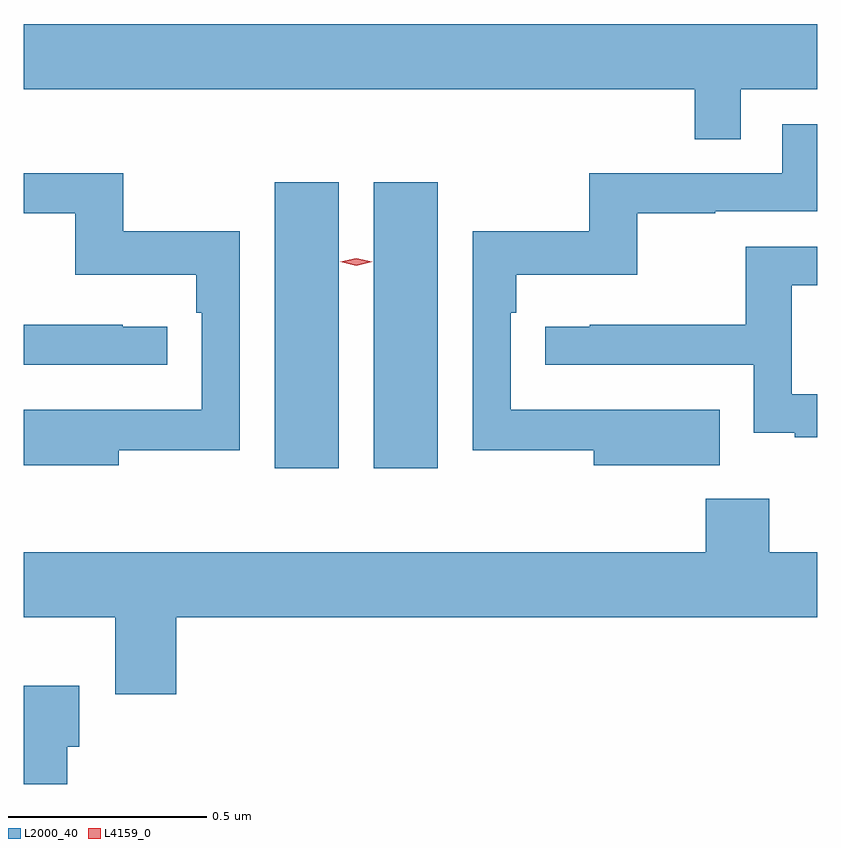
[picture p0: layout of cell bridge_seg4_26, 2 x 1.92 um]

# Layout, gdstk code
import gdstk
lib = gdstk.Library(unit=1e-6, precision=1e-09)
def R(c, l, rs):  # rectangles x0, y0, x1, y1
    for r in rs: c.add(gdstk.rectangle(r[:2], r[2:], *l))
def P(c, l, *ps):  # polygons
    for p in ps: c.add(gdstk.Polygon(p, *l))
L2000_40 = (2000, 40)
L4159_0 = (4159, 0)

bridge_seg4_26 = lib.new_cell('bridge_seg4_26')
R(bridge_seg4_26, L2000_40, [(999.161,827.832,999.322,828.553), (999.41,827.832,999.571,828.553)])
P(bridge_seg4_26, L2000_40, [(1000.335,828.788),(1000.528,828.788),(1000.528,828.952),(998.528,828.952),(998.528,828.788),(1000.219,828.788),(1000.219,828.661),(1000.335,828.661)],
  [(1000.283,827.98),(1000.069,827.98),(1000.069,827.979),(999.756,827.979),(999.756,828.224),(999.77,828.224),(999.77,828.32),(1000.075,828.32),(1000.075,828.475),(1000.271,828.475),(1000.271,828.48),(1000.528,828.48),(1000.528,828.699),(1000.44,828.699),(1000.44,828.576),(999.954,828.576),(999.954,828.43),(999.66,828.43),(999.66,827.878),(999.965,827.878),(999.965,827.84),(1000.283,827.84)],
  [(998.767,827.878),(999.072,827.878),(999.072,828.43),(998.779,828.43),(998.779,828.576),(998.528,828.576),(998.528,828.475),(998.658,828.475),(998.658,828.32),(998.963,828.32),(998.963,828.224),(998.976,828.224),(998.976,827.979),(998.663,827.979),(998.663,827.98),(998.528,827.98),(998.528,827.84),(998.767,827.84)],
  [(1000.528,828.018),(1000.464,828.018),(1000.464,828.294),(1000.528,828.294),(1000.528,828.39),(1000.348,828.39),(1000.348,828.194),(999.955,828.194),(999.955,828.189),(999.843,828.189),(999.843,828.093),(1000.368,828.093),(1000.368,827.921),(1000.471,827.921),(1000.471,827.91),(1000.528,827.91)],
  [(998.89,828.189),(998.777,828.189),(998.777,828.194),(998.528,828.194),(998.528,828.093),(998.89,828.093)],
  [(998.912,827.456),(1000.528,827.456),(1000.528,827.62),(1000.407,827.62),(1000.407,827.755),(1000.247,827.755),(1000.247,827.62),(998.528,827.62),(998.528,827.456),(998.759,827.456),(998.759,827.262),(998.912,827.262)],
  [(998.638,827.13),(998.668,827.13),(998.668,827.284),(998.528,827.284),(998.528,827.036),(998.638,827.036)])
P(bridge_seg4_26, L4159_0, [(999.366,828.342),(999.326,828.352),(999.326,828.352),(999.326,828.352),(999.366,828.362),(999.406,828.352),(999.406,828.352),(999.406,828.352)])

lib.write_gds('bridge_seg4_26.gds')
